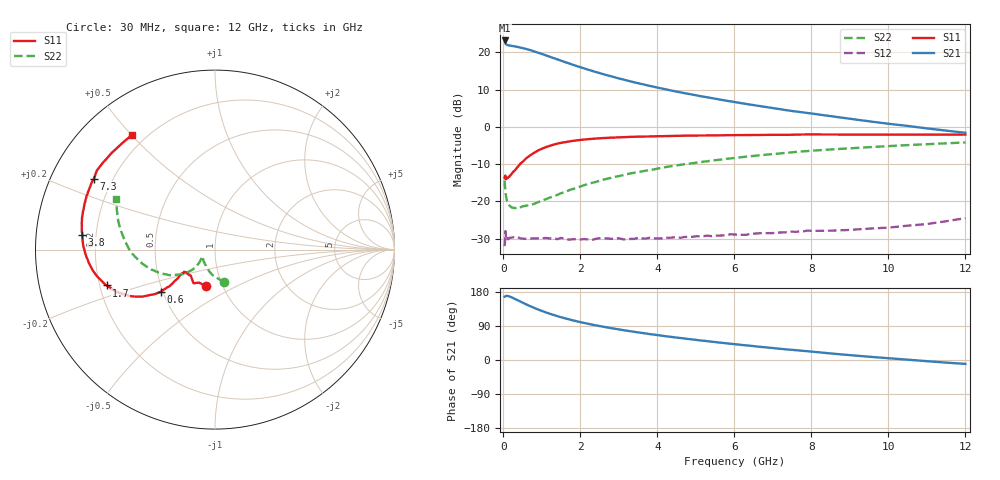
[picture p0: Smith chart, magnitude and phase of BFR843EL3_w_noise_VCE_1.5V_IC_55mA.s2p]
! (c) 2013  Infineon Technologies AG, Munich
! Infineon Technologies  Discrete & RF Semiconductors
! BFR843EL3
! VCE =  1.5 V,  IC =  55 mA
! Common Emitter S-Parameters:  Aug 2013
# GHz  S  MA  R  50
!  f  S11  S21  S12  S22
! GHz  MAG  ANG  MAG  ANG  MAG  ANG  MAG  ANG
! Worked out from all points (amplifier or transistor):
!   103 points, 30 MHz to 12 GHz, reference 50 ohm
!   highest |S21| = 23.2 dB at 30 MHz (marker M1)
!   |S21| within 3 dB of that: start of sweep to 816.8 MHz
!   unconditionally stable (mu >= 1): start of sweep to end of sweep
!   at 400 MHz: K = 1.37, MAG = 21.9 dB, |S12| = -29.7 dB
!   at 3.7 GHz: K = 1.77, MAG = 15.5 dB, |S12| = -30.0 dB
!   at 12 GHz: K = 2.54, MAG = 4.6 dB, |S12| = -24.5 dB
!   lowest NFmin = 1.94 dB at 450 MHz
!   S11 on the Smith chart (normalised r, x): 30 MHz: 0.84, -0.36; 600 MHz: 0.49, -0.27; 1.7 GHz: 0.23, -0.15; 3.8 GHz: 0.15, +0.05; 7.3 GHz: 0.13, +0.27; 12 GHz: 0.15, +0.50
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0.03  0.2093 -103.4  14.43 167.0  0.0251 30.2  0.1903 -74.3
0.04  0.2047 -116.0  13.74 167.4  0.029 25.5  0.1586 -85.8
0.06  0.1979 -133.0  12.98 168.7  0.0363 10.0  0.1252 -105.2
0.1  0.2054 -141.9  12.54 169.2  0.0322 9.4  0.0991 -123.5
0.15  0.2149 -143.4  12.36 168.0  0.0325 6.1  0.0891 -136.4
0.35  0.2823 -142.1  11.86 158.7  0.0332 4.6  0.0826 -150.9
0.6  0.3821 -142.1  11.07 146.4  0.0315 4.3  0.088 -148.3
0.8  0.4495 -145.5  10.28 137.4  0.032 4.0  0.0929 -145.8
1.1  0.5343 -150.9  9.117 125.7  0.0323 4.3  0.1068 -141.7
1.4  0.5959 -156.7  8.045 115.8  0.0312 5.8  0.1223 -139.4
1.7  0.6365 -161.7  7.11 107.3  0.0307 7.4  0.1411 -137.8
2.1  0.6771 -167.8  6.074 97.6  0.0312 9.4  0.1651 -138.2
2.4  0.6969 -171.8  5.442 91.4  0.0315 8.4  0.1826 -139.5
2.8  0.717 -176.6  4.761 84.0  0.0315 10.8  0.2072 -141.4
3.8  0.7438 173.7  3.548 68.4  0.0326 16.5  0.2642 -147.8
4.1  0.7503 171.4  3.285 64.4  0.032 16.1  0.2813 -149.6
5.1  0.7659 163.7  2.594 51.8  0.034 22.9  0.3347 -157.5
6.1  0.7754 156.9  2.114 40.7  0.036 26.1  0.3877 -165.3
7.3  0.7822 149.6  1.69 28.5  0.0384 27.8  0.4465 -174.7
8.5  0.7903 142.2  1.393 17.3  0.0405 30.8  0.4976 175.7
10.5  0.7865 132.2  1.03 0.9  0.0473 40.1  0.5698 162.1
12  0.7897 126.0  0.834 -10.3  0.0597 41.4  0.6182 153.0
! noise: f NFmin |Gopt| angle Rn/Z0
0.45  1.94  0.32  -179  0.13
0.9  1.97  0.36  188  0.12
1.5  2.03  0.38  190  0.12
1.9  2.08  0.38  190  0.11
2.4  2.15  0.42  196  0.1
3.5  2.32  0.45  200  0.12
5.5  2.64  0.52  210  0.16
8  3.02  0.62  222  0.28
10  3.31  0.63  237  0.63
